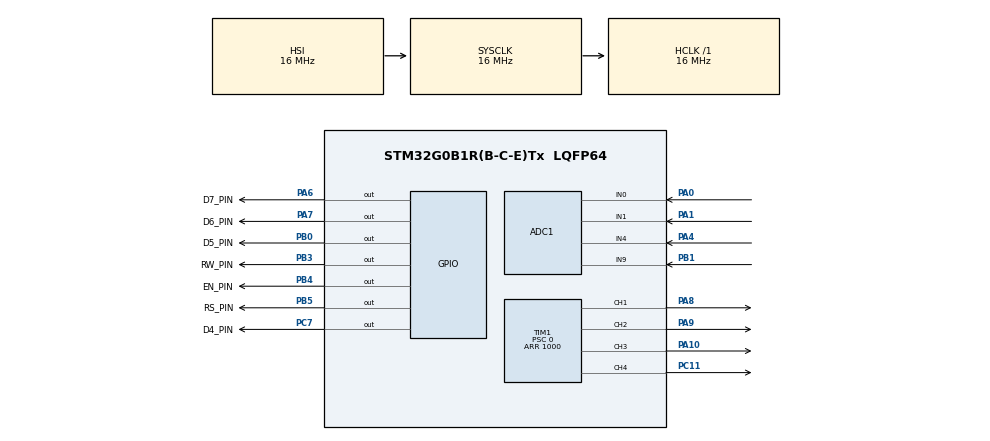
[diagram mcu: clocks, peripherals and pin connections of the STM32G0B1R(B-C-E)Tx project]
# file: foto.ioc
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ADC1.Channel-3\#ChannelRegularConversion=ADC_CHANNEL_0
ADC1.Channel-4\#ChannelRegularConversion=ADC_CHANNEL_1
ADC1.Channel-5\#ChannelRegularConversion=ADC_CHANNEL_4
ADC1.Channel-6\#ChannelRegularConversion=ADC_CHANNEL_9
ADC1.ClockPrescaler=ADC_CLOCK_ASYNC_DIV2
ADC1.ContinuousConvMode=ENABLE
ADC1.EOCSelection=ADC_EOC_SEQ_CONV
ADC1.NbrOfConversion=4
ADC1.NbrOfConversionFlag=1
ADC1.Rank-3\#ChannelRegularConversion=1
ADC1.Rank-4\#ChannelRegularConversion=2
ADC1.Rank-5\#ChannelRegularConversion=3
ADC1.Rank-6\#ChannelRegularConversion=4
ADC1.SamplingTime-3\#ChannelRegularConversion=ADC_SAMPLINGTIME_COMMON_1
ADC1.SamplingTime-4\#ChannelRegularConversion=ADC_SAMPLINGTIME_COMMON_1
ADC1.SamplingTime-5\#ChannelRegularConversion=ADC_SAMPLINGTIME_COMMON_1
ADC1.SamplingTime-6\#ChannelRegularConversion=ADC_SAMPLINGTIME_COMMON_1
ADC1.SelectedChannel=ADC_CHANNEL_0|ADC_CHANNEL_1|ADC_CHANNEL_4|ADC_CHANNEL_9
ADC1.master=1
Dma.ADC1.0.Direction=DMA_PERIPH_TO_MEMORY
Dma.ADC1.0.EventEnable=DISABLE
Dma.ADC1.0.Instance=DMA1_Channel1
Dma.ADC1.0.MemDataAlignment=DMA_MDATAALIGN_HALFWORD
Dma.ADC1.0.MemInc=DMA_MINC_ENABLE
Dma.ADC1.0.Mode=DMA_CIRCULAR
Dma.ADC1.0.PeriphDataAlignment=DMA_PDATAALIGN_HALFWORD
Dma.ADC1.0.PeriphInc=DMA_PINC_DISABLE
Dma.ADC1.0.Polarity=HAL_DMAMUX_REQ_GEN_RISING
Dma.ADC1.0.Priority=DMA_PRIORITY_LOW
Dma.ADC1.0.RequestNumber=1
Dma.ADC1.0.SignalID=NONE
Dma.ADC1.0.SyncEnable=DISABLE
Dma.ADC1.0.SyncPolarity=HAL_DMAMUX_SYNC_NO_EVENT
Dma.ADC1.0.SyncRequestNumber=1
Dma.ADC1.0.SyncSignalID=NONE
Dma.Request0=ADC1
Mcu.Family=STM32G0
Mcu.Name=STM32G0B1R(B-C-E)Tx
Mcu.Package=LQFP64
NVIC.ADC1_COMP_IRQn=true\:1\:0\:true\:false\:true\:true\:true\:true
NVIC.DMA1_Channel1_IRQn=true\:0\:0\:false\:false\:true\:false\:true\:true
PA0.Mode=IN0
PA0.Signal=ADC1_IN0
PA1.Mode=IN1
PA1.Signal=ADC1_IN1
PA10.Signal=S_TIM1_CH3
PA4.Mode=IN4
PA4.Signal=ADC1_IN4
PA6.GPIO_Label=D7_PIN
PA6.Signal=GPIO_Output
PA7.GPIO_Label=D6_PIN
PA7.Signal=GPIO_Output
PA8.Signal=S_TIM1_CH1
PA9.Signal=S_TIM1_CH2
PB0.GPIO_Label=D5_PIN
PB0.Signal=GPIO_Output
PB1.Mode=IN9
PB1.Signal=ADC1_IN9
PB3.GPIO_Label=RW_PIN
PB3.Signal=GPIO_Output
PB4.GPIO_Label=EN_PIN
PB4.Signal=GPIO_Output
PB5.GPIO_Label=RS_PIN
PB5.Signal=GPIO_Output
PC11.Signal=S_TIM1_CH4
PC7.GPIO_Label=D4_PIN
PC7.Signal=GPIO_Output
ProjectManager.HeapSize=0x200
ProjectManager.StackSize=0x400
ProjectManager.TargetToolchain=STM32CubeIDE
RCC.ADCFreq_Value=16000000
RCC.AHBFreq_Value=16000000
RCC.CortexFreq_Value=16000000
RCC.EXTERNAL_CLOCK_VALUE=48000
RCC.HCLKFreq_Value=16000000
RCC.HSE_VALUE=8000000
RCC.HSI48_VALUE=48000000
RCC.HSI_VALUE=16000000
RCC.LSE_VALUE=32768
RCC.PLLP=RCC_PLLP_DIV4
RCC.SYSCLKFreq_VALUE=16000000
RCC.USBFreq_Value=48000000
RCC.VCOOutputFreq_Value=128000000
SH.S_TIM1_CH1.0=TIM1_CH1,PWM Generation1 CH1
SH.S_TIM1_CH2.0=TIM1_CH2,PWM Generation2 CH2
SH.S_TIM1_CH3.0=TIM1_CH3,PWM Generation3 CH3
SH.S_TIM1_CH4.0=TIM1_CH4,PWM Generation4 CH4
TIM1.Channel-PWM\ Generation1\ CH1=TIM_CHANNEL_1
TIM1.Channel-PWM\ Generation2\ CH2=TIM_CHANNEL_2
TIM1.Channel-PWM\ Generation3\ CH3=TIM_CHANNEL_3
TIM1.Channel-PWM\ Generation4\ CH4=TIM_CHANNEL_4
TIM1.Period=1000
TIM1.Prescaler=0
VP_SYS_VS_DBSignals.Mode=DisableDeadBatterySignals
VP_TIM1_VS_ClockSourceINT.Mode=Internal
board=custom

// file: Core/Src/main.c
/* USER CODE BEGIN Header */
/**
  ******************************************************************************
  * @file           : main.c
  * @brief          : Main program body
  ******************************************************************************
  * @attention
  *
  * Copyright (c) 2025 STMicroelectronics.
  * All rights reserved.
  *
  * This software is licensed under terms that can be found in the LICENSE file
  * in the root directory of this software component.
  * If no LICENSE file comes with this software, it is provided AS-IS.
  *
  ******************************************************************************
  */
/* USER CODE END Header */
#include "main.h"
#include "adc.h"
#include "dma.h"
#include "tim.h"
#include "gpio.h"

/* USER CODE BEGIN Includes */
#include <stdio.h>
#include <string.h>
#include "Fan_Controller.h"
#include "lcd.h"
/* USER CODE END Includes */

/* USER CODE BEGIN PD */
// Definice PID konstant (nutno doladit pro tvůj systém)
/* USER CODE END PD */

void SystemClock_Config(void);
/* USER CODE BEGIN PFP */
//void ADC_Calibration(void);
/* USER CODE END PFP */

/* USER CODE BEGIN 0 */
//int16_t i = 0;
uint16_t readValue;
uint16_t readValue2;
uint16_t readValue3;
uint16_t readValue4;
uint16_t rawValues[4];
uint16_t pwmValue;
uint16_t pwmValue1;
uint16_t pwmValue2;
uint16_t pwmValue3;
uint8_t convCompleted=0;
void HAL_ADC_ConvCpltCallback(ADC_HandleTypeDef *hadc) {
    if (hadc->Instance == ADC1) {
        readValue  = rawValues[0];
        readValue2 = rawValues[1];
        readValue3 = rawValues[2];
        readValue4 = rawValues[3];
    }
}

int16_t fan_speed_global = 0;
int16_t fan_speed_global2 = 0;
int caseValue = 0;
/* USER CODE END 0 */

int main(void)
{

  /* USER CODE BEGIN 1 */
  /* Initialise PID controller */
	/*PIDController pid = { PID_KP, PID_KI, PID_KD,
						  PID_TAU,
						  PID_LIM_MIN, PID_LIM_MAX,
						  PID_LIM_MIN_INT, PID_LIM_MAX_INT,
						  SAMPLE_TIME_S };

	PIDController_Init(&pid);*/

  /* USER CODE END 1 */

  /* MCU Configuration--------------------------------------------------------*/

  /* Reset of all peripherals, Initializes the Flash interface and the Systick. */
  HAL_Init();

  /* Configure the system clock */
  SystemClock_Config();

  /* Initialize all configured peripherals */
  MX_GPIO_Init();
  MX_DMA_Init();
  MX_ADC1_Init();
  MX_TIM1_Init();
  /* USER CODE BEGIN 2 */

    //HAL_ADC_Start(&hadc1);
    //HAL_ADCEx_Calibration_Start(&hadc1);
	/*TIM1 -> CCR1 = 10;
	HAL_TIM_PWM_Start(&htim1,TIM_CHANNEL_1);*/
	  //HAL_TIM_PWM_Start(&htim1,TIM_CHANNEL_1);
	/*ADC1 -> CR &= ~ ADC_CR_ADEN;

	ADC1 -> CR|= ADC_CR_ADCAL;
	while((ADC1 -> CR & ADC_CR_ADCAL)!=0)
	{}*/
  HAL_TIM_PWM_Start(&htim1, TIM_CHANNEL_1);
  HAL_TIM_PWM_Start(&htim1, TIM_CHANNEL_2);
  HAL_TIM_PWM_Start(&htim1, TIM_CHANNEL_3);
  HAL_TIM_PWM_Start(&htim1, TIM_CHANNEL_4);
  init_fan(&(TIM1->CCR1), &(TIM1->CCR2), &(TIM1->CCR4), &(TIM1->CCR3));

  lcd_init();
  lcd_put_cur(0, 0);
  lcd_send_string("HELLO ");
  lcd_send_string("WORLD ");
  lcd_send_string("FROM");
  HAL_Delay(1000);
  lcd_put_cur(1, 0);
  lcd_send_string("CONTROLLERSTECH");
  HAL_Delay(2000);
  lcd_clear();
  //lcd_clear();
  /* USER CODE END 2 */

  /* Infinite loop */
  while (1)
  {

    /* USER CODE BEGIN 3 */
	  //ADC_Calibrate();
	 HAL_ADCEx_Calibration_Start(&hadc1);
	 HAL_Delay(10);
	 set_fan_speed(fan_speed_global);
	 set_fan_speed2(fan_speed_global2);
	 //CalculatePWM(&pwmValue, &pwmValue1, &pwmValue2, &pwmValue3);
	 HAL_ADC_Start_DMA(&hadc1, (uint32_t *) rawValues, 4);
	 HAL_Delay(10);  // Krátká prodleva pro stabilizaci

	  if (convCompleted) {
	      readValue = (uint16_t) rawValues[0];
	      readValue2 = (uint16_t) rawValues[1];
	      readValue3 = (uint16_t) rawValues[2];
	      readValue4 = (uint16_t) rawValues[3];
	      convCompleted = 0;  // Resetování flagu pro další měření
	  }
	  pwmValue = 100 - ((readValue * 500) / 4095);  // Inverzní vztah pro pwmValue
	  pwmValue1 = 100 - ((readValue2 * 500) / 4095);  // Inverzní vztah pro pwmValue1
	  pwmValue2 = 100 - ((readValue3 * 500) / 4095);
	  pwmValue3 = 100 - ((readValue4 * 500) / 4095);
	  //Hranice pwm signálu
	  if (pwmValue >60000){
			pwmValue = 1;
		}
	  if (pwmValue1 >60000){
	  			pwmValue1 = 1;
	  		}
	  if (pwmValue2 >60000){
	  			pwmValue2 = 1;
	  		}
	  if (pwmValue3 >60000){
	  			pwmValue3 = 1;
	  		}

	  // Logika otáčení motorků
	  if (readValue > readValue2 && readValue2 > readValue3 && readValue2 > readValue4)
	  {
	  	caseValue = 1;
	  }
	  else if (readValue2 > readValue && readValue2 > readValue3 && readValue2 > readValue4)
	  {
	  	caseValue = 2;
	  }
	  else if (readValue2 > readValue3 && readValue3 > readValue && readValue3 > readValue4)
	  {
	  	caseValue = 3;
	  }
	  else if (readValue3 > readValue2 && readValue2 > readValue && readValue2 > readValue4)
	  {
	  	caseValue = 4;
	  }
	  else if (readValue3 > readValue4 && readValue4 > readValue2 && readValue4 > readValue)
	  {
	  	caseValue = 5;
	  }
	  else if (readValue4 > readValue3 && readValue3 > readValue2 && readValue3 > readValue)
	  {
	  	caseValue = 6;
	  }
	  else if (readValue4 > readValue && readValue > readValue3 && readValue > readValue2)
	  {
	  	caseValue = 7;
	  }
	  else if (readValue > readValue4 && readValue4 > readValue2 && readValue4 > readValue3)
	  {
	  	caseValue = 8;
	  }

	  switch (caseValue) {
	      case 1:
	          fan_speed_global = pwmValue * 10;
	          fan_speed_global2 = pwmValue * 10;
	          break;
	      case 2:
	          fan_speed_global = -pwmValue1 * 10;
	          fan_speed_global2 = -pwmValue1 * 10;
	          break;
	      case 3:
	          fan_speed_global = pwmValue1 * 10;
	          fan_speed_global2 = pwmValue1 * 10;
	          break;
	      case 4:
	          fan_speed_global = -pwmValue2 * 10;
	          fan_speed_global2 = -pwmValue2 * 10;
	          break;
	      case 5:
	          fan_speed_global = pwmValue2 * 10;
	          fan_speed_global2 = pwmValue2 * 10;
	          break;
	      case 6:
	          fan_speed_global = -pwmValue3 * 10;
	          fan_speed_global2 = -pwmValue3 * 10;
	          break;
	      case 7:
	          fan_speed_global = pwmValue3 * 10;
	          fan_speed_global2 = pwmValue3 * 10;
	          break;
	      case 8:
	          fan_speed_global = -pwmValue * 10;
	          fan_speed_global2 = -pwmValue * 10;
	          break;
	      default:
	          fan_speed_global = 0;
	          fan_speed_global2 = 0;
	          break;
	  }
  }

  /* USER CODE END 3 */
}

void SystemClock_Config(void)
{
  RCC_OscInitTypeDef RCC_OscInitStruct = {0};
  RCC_ClkInitTypeDef RCC_ClkInitStruct = {0};

  /** Configure the main internal regulator output voltage
  */
  HAL_PWREx_ControlVoltageScaling(PWR_REGULATOR_VOLTAGE_SCALE1);

  /** Initializes the RCC Oscillators according to the specified parameters
  * in the RCC_OscInitTypeDef structure.
  */
  RCC_OscInitStruct.OscillatorType = RCC_OSCILLATORTYPE_HSI;
  RCC_OscInitStruct.HSIState = RCC_HSI_ON;
  RCC_OscInitStruct.HSIDiv = RCC_HSI_DIV1;
  RCC_OscInitStruct.HSICalibrationValue = RCC_HSICALIBRATION_DEFAULT;
  RCC_OscInitStruct.PLL.PLLState = RCC_PLL_NONE;
  if (HAL_RCC_OscConfig(&RCC_OscInitStruct) != HAL_OK)
  {
    Error_Handler();
  }

  /** Initializes the CPU, AHB and APB buses clocks
  */
  RCC_ClkInitStruct.ClockType = RCC_CLOCKTYPE_HCLK|RCC_CLOCKTYPE_SYSCLK
                              |RCC_CLOCKTYPE_PCLK1;
  RCC_ClkInitStruct.SYSCLKSource = RCC_SYSCLKSOURCE_HSI;
  RCC_ClkInitStruct.AHBCLKDivider = RCC_SYSCLK_DIV1;
  RCC_ClkInitStruct.APB1CLKDivider = RCC_HCLK_DIV1;

  if (HAL_RCC_ClockConfig(&RCC_ClkInitStruct, FLASH_LATENCY_0) != HAL_OK)
  {
    Error_Handler();
  }
}

/* USER CODE BEGIN 4 */
void ADC_Calibrate(void) {
    // Ensure ADC is disabled before calibration
    if (HAL_ADC_DeInit(&hadc1) != HAL_OK) {
        Error_Handler();
    }

    // Start ADC calibration
    if (HAL_ADCEx_Calibration_Start(&hadc1) != HAL_OK) {
        Error_Handler();
    }

    // Reinitialize ADC after calibration
    if (HAL_ADC_Init(&hadc1) != HAL_OK) {
        Error_Handler();
    }
}
/* USER CODE END 4 */

void Error_Handler(void)
{
  __disable_irq();
  while (1)
  {
  }
}
